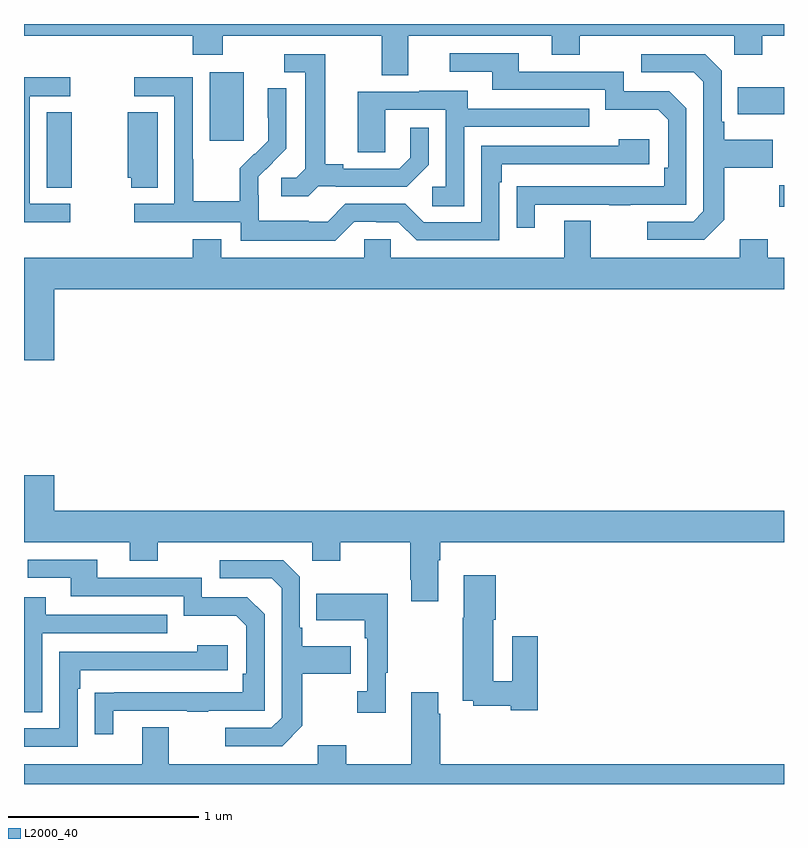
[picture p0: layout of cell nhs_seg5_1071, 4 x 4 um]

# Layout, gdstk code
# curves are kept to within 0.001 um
import gdstk
lib = gdstk.Library(unit=1e-6, precision=1e-09)
def R(c, l, rs):  # rectangles x0, y0, x1, y1
    for r in rs: c.add(gdstk.rectangle(r[:2], r[2:], *l))
def P(c, l, *ps):  # polygons
    for p in ps: c.add(gdstk.Polygon(p, *l))
L2000_40 = (2000, 40)

nhs_seg5_1071 = lib.new_cell('nhs_seg5_1071')
R(nhs_seg5_1071, L2000_40, [(180.975,879.837,181,879.95), (177.119,879.937,177.25,880.334), (177.977,880.185,178.156,880.546), (180.757,880.325,181,880.465)])
P(nhs_seg5_1071, L2000_40, [(179.023,880.736),(179.777,880.736),(179.777,880.637),(179.925,880.637),(179.925,880.736),(180.738,880.736),(180.738,880.637),(180.885,880.637),(180.885,880.736),(181,880.736),(181,880.799),(177,880.799),(177,880.736),(177.887,880.736),(177.887,880.637),(178.047,880.637),(178.047,880.736),(178.883,880.736),(178.883,880.528),(179.023,880.528)],
  [(179.689,879.849),(180.079,879.849),(180.079,879.844),(180.191,879.844),(180.191,879.849),(180.486,879.849),(180.486,880.356),(180.396,880.446),(180.156,880.446),(180.156,880.548),(179.605,880.548),(179.605,880.644),(179.241,880.644),(179.241,880.548),(179.465,880.548),(179.465,880.452),(180.06,880.452),(180.06,880.349),(180.337,880.349),(180.39,880.296),(180.39,880.042),(180.37,880.042),(180.37,879.945),(179.593,879.944),(179.593,879.726),(179.689,879.726)],
  [(180.685,879.769),(180.685,880.042),(180.941,880.042),(180.941,880.189),(180.685,880.189),(180.685,880.285),(180.672,880.285),(180.672,880.554),(180.585,880.641),(180.249,880.641),(180.249,880.545),(180.525,880.545),(180.576,880.494),(180.576,879.813),(180.522,879.759),(180.279,879.759),(180.279,879.663),(180.579,879.663)],
  [(178.548,879.945),(178.642,879.945),(178.642,879.942),(179.014,879.942),(179.13,880.058),(179.13,880.252),(179.033,880.252),(179.033,880.095),(178.976,880.038),(178.681,880.038),(178.681,880.061),(178.585,880.061),(178.585,880.641),(178.371,880.641),(178.371,880.545),(178.481,880.545),(178.481,880.037),(178.434,879.99),(178.353,879.99),(178.353,879.893),(178.496,879.893)],
  [(177.244,879.852),(177.03,879.852),(177.03,880.419),(177.244,880.419),(177.244,880.518),(177,880.518),(177,879.756),(177.244,879.756)],
  [(178.737,879.759),(178.853,879.759),(178.853,879.756),(178.971,879.756),(179.067,879.66),(179.502,879.66),(179.502,879.965),(179.515,879.965),(179.515,880.062),(180.292,880.062),(180.292,880.192),(180.131,880.192),(180.131,880.158),(179.406,880.158),(179.406,879.756),(179.103,879.756),(179.007,879.852),(178.692,879.852),(178.599,879.759),(178.499,879.759),(178.499,879.763),(178.236,879.763),(178.236,879.897),(178.234,879.897),(178.234,879.994),(178.38,880.142),(178.38,880.46),(178.284,880.46),(178.284,880.306),(178.286,880.306),(178.286,880.184),(178.215,880.113),(178.212,880.116),(178.135,880.039),(178.135,879.865),(177.891,879.865),(177.891,880.088),(177.888,880.088),(177.888,880.518),(177.579,880.518),(177.579,880.419),(177.792,880.419),(177.792,879.852),(177.579,879.852),(177.579,879.756),(178.14,879.756),(178.14,879.659),(178.637,879.659)],
  [(179.316,880.257),(179.975,880.257),(179.975,880.353),(179.335,880.353),(179.335,880.447),(179.081,880.447),(179.081,880.443),(178.757,880.443),(178.757,880.123),(178.902,880.123),(178.902,880.347),(179.22,880.347),(179.22,879.942),(179.148,879.942),(179.148,879.841),(179.316,879.841)],
  [(177.703,880.334),(177.545,880.334),(177.545,879.99),(177.565,879.99),(177.565,879.937),(177.703,879.937)],
  [(177.16,879.404),(181,879.404),(181,879.568),(180.915,879.568),(180.915,879.667),(180.767,879.667),(180.767,879.568),(179.983,879.568),(179.983,879.763),(179.843,879.763),(179.843,879.568),(178.929,879.568),(178.929,879.666),(178.791,879.666),(178.791,879.568),(178.039,879.568),(178.039,879.667),(177.887,879.667),(177.887,879.568),(177,879.568),(177,879.03),(177.16,879.03)],
  [(179.179,877.976),(179.192,877.976),(179.192,878.072),(181,878.072),(181,878.236),(177.16,878.236),(177.16,878.425),(177,878.425),(177,878.072),(177.557,878.072),(177.557,877.973),(177.705,877.973),(177.705,878.072),(178.518,878.072),(178.518,877.973),(178.665,877.973),(178.665,878.072),(179.032,878.072),(179.032,877.873),(179.039,877.873),(179.039,877.761),(179.179,877.761)],
  [(177.469,877.185),(177.859,877.185),(177.859,877.18),(177.971,877.18),(177.971,877.185),(178.266,877.185),(178.266,877.692),(178.176,877.782),(177.936,877.782),(177.936,877.884),(177.385,877.884),(177.385,877.98),(177.021,877.98),(177.021,877.884),(177.245,877.884),(177.245,877.788),(177.84,877.788),(177.84,877.685),(178.117,877.685),(178.17,877.632),(178.17,877.378),(178.15,877.378),(178.15,877.281),(177.373,877.28),(177.373,877.062),(177.469,877.062)],
  [(178.465,877.105),(178.465,877.378),(178.721,877.378),(178.721,877.525),(178.465,877.525),(178.465,877.621),(178.452,877.621),(178.452,877.89),(178.365,877.977),(178.029,877.977),(178.029,877.881),(178.305,877.881),(178.356,877.83),(178.356,877.149),(178.302,877.095),(178.059,877.095),(178.059,876.999),(178.359,876.999)],
  [(179.705,877.576),(179.57,877.576),(179.57,877.34),(179.47,877.34),(179.47,877.663),(179.483,877.663),(179.483,877.897),(179.315,877.897),(179.315,877.673),(179.308,877.673),(179.308,877.238),(179.364,877.238),(179.364,877.21),(179.563,877.21),(179.563,877.187),(179.705,877.187)],
  [(178.903,877.385),(178.915,877.385),(178.915,877.801),(178.537,877.801),(178.537,877.661),(178.794,877.661),(178.794,877.565),(178.806,877.565),(178.806,877.286),(178.755,877.286),(178.755,877.173),(178.903,877.173)],
  [(177.096,877.593),(177.755,877.593),(177.755,877.689),(177.115,877.689),(177.115,877.783),(177,877.783),(177,877.177),(177.096,877.177)],
  [(177.282,877.301),(177.295,877.301),(177.295,877.398),(178.072,877.398),(178.072,877.528),(177.911,877.528),(177.911,877.494),(177.186,877.494),(177.186,877.092),(177,877.092),(177,876.996),(177.282,876.996)],
  [(181,876.904),(179.192,876.904),(179.192,877.169),(179.179,877.169),(179.179,877.282),(179.039,877.282),(179.039,876.904),(178.695,876.904),(178.695,877.003),(178.547,877.003),(178.547,876.904),(177.763,876.904),(177.763,877.099),(177.623,877.099),(177.623,876.904),(177,876.904),(177,876.799),(181,876.799)])

lib.write_gds('nhs_seg5_1071.gds')
